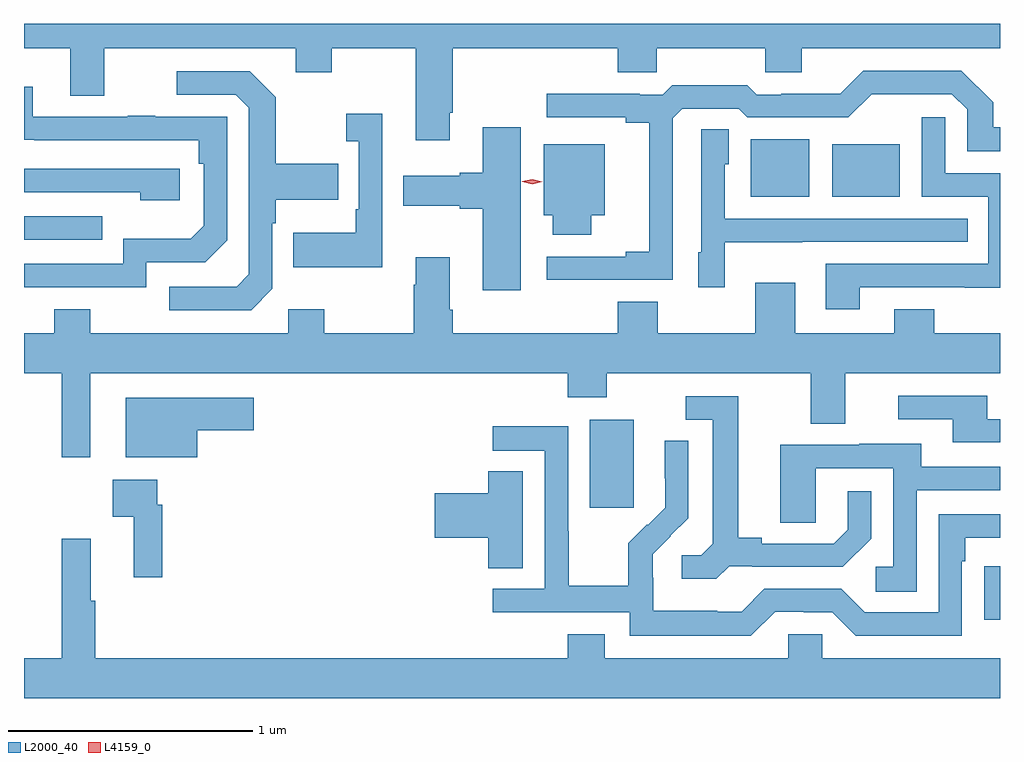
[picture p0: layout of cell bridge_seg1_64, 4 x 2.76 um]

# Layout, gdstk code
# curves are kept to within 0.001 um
import gdstk
lib = gdstk.Library(unit=1e-6, precision=1e-09)
def R(c, l, rs):  # rectangles x0, y0, x1, y1
    for r in rs: c.add(gdstk.rectangle(r[:2], r[2:], *l))
def P(c, l, *ps):  # polygons
    for p in ps: c.add(gdstk.Polygon(p, *l))
L2000_40 = (2000, 40)
L4159_0 = (4159, 0)

bridge_seg1_64 = lib.new_cell('bridge_seg1_64')
R(bridge_seg1_64, L2000_40, [(604.501,581.358,604.566,581.576), (602.885,581.817,603.064,582.178), (600.566,582.915,600.887,583.011), (603.545,583.091,603.784,583.327), (603.878,583.091,604.156,583.306)])
P(bridge_seg1_64, L2000_40, [(602.311,583.435),(602.324,583.435),(602.324,583.7),(602.999,583.7),(602.999,583.602),(603.159,583.602),(603.159,583.7),(603.604,583.7),(603.604,583.602),(603.754,583.602),(603.754,583.7),(604.566,583.7),(604.566,583.8),(600.566,583.8),(600.566,583.7),(600.755,583.7),(600.755,583.506),(600.895,583.506),(600.895,583.7),(601.679,583.7),(601.679,583.601),(601.827,583.601),(601.827,583.7),(602.171,583.7),(602.171,583.323),(602.311,583.323)],
  [(603.225,583.413),(603.264,583.452),(603.495,583.452),(603.531,583.416),(603.945,583.416),(604.04,583.511),(604.368,583.512),(604.431,583.449),(604.431,583.278),(604.566,583.278),(604.566,583.375),(604.539,583.375),(604.539,583.478),(604.408,583.608),(604.005,583.608),(603.911,583.514),(603.67,583.514),(603.67,583.509),(603.57,583.509),(603.531,583.549),(603.223,583.549),(603.183,583.509),(603.089,583.509),(603.089,583.514),(602.709,583.514),(602.709,583.416),(603.032,583.416),(603.032,583.394),(603.128,583.394),(603.128,582.866),(603.032,582.866),(603.032,582.846),(602.709,582.846),(602.709,582.75),(603.225,582.75)],
  [(601.584,582.714),(601.584,582.983),(601.597,582.983),(601.597,583.079),(601.853,583.079),(601.853,583.227),(601.597,583.227),(601.597,583.499),(601.491,583.605),(601.191,583.605),(601.191,583.509),(601.434,583.509),(601.488,583.455),(601.488,582.774),(601.437,582.723),(601.161,582.723),(601.161,582.627),(601.497,582.627)],
  [(601.068,582.822),(601.308,582.822),(601.398,582.912),(601.398,583.419),(601.103,583.419),(601.103,583.424),(600.991,583.424),(600.991,583.419),(600.601,583.419),(600.601,583.543),(600.566,583.543),(600.566,583.324),(601.282,583.323),(601.282,583.226),(601.302,583.226),(601.302,582.972),(601.249,582.919),(600.972,582.919),(600.972,582.816),(600.566,582.816),(600.566,582.72),(601.068,582.72)],
  [(602.034,583.432),(601.887,583.432),(601.887,583.319),(601.938,583.319),(601.938,583.039),(601.926,583.039),(601.926,582.943),(601.669,582.943),(601.669,582.803),(602.034,582.803)],
  [(603.991,582.72),(604.421,582.72),(604.421,582.719),(604.566,582.719),(604.566,583.188),(604.341,583.188),(604.341,583.417),(604.245,583.417),(604.245,583.092),(604.518,583.092),(604.518,582.816),(603.851,582.816),(603.851,582.63),(603.991,582.63)],
  [(602.602,583.375),(602.447,583.375),(602.447,583.19),(602.351,583.19),(602.351,583.177),(602.121,583.177),(602.121,583.055),(602.351,583.055),(602.351,583.043),(602.447,583.043),(602.447,582.708),(602.602,582.708)],
  [(603.438,582.905),(603.755,582.905),(603.755,582.906),(604.433,582.906),(604.433,583.002),(603.438,583.002),(603.438,583.224),(603.454,583.224),(603.454,583.367),(603.342,583.367),(603.342,582.864),(603.329,582.864),(603.329,582.72),(603.438,582.72)],
  [(602.89,583.016),(602.947,583.016),(602.947,583.306),(602.696,583.306),(602.696,583.016),(602.732,583.016),(602.732,582.935),(602.89,582.935)],
  [(601.204,583.206),(600.566,583.206),(600.566,583.11),(601.043,583.11),(601.043,583.076),(601.204,583.076)],
  [(600.838,582.368),(602.795,582.368),(602.795,582.269),(602.955,582.269),(602.955,582.368),(603.791,582.368),(603.791,582.16),(603.931,582.16),(603.931,582.368),(604.566,582.368),(604.566,582.532),(604.297,582.532),(604.297,582.631),(604.133,582.631),(604.133,582.532),(603.727,582.532),(603.727,582.739),(603.563,582.739),(603.563,582.532),(603.163,582.532),(603.163,582.661),(602.999,582.661),(602.999,582.532),(602.324,582.532),(602.324,582.628),(602.311,582.628),(602.311,582.844),(602.171,582.844),(602.171,582.731),(602.164,582.731),(602.164,582.532),(601.797,582.532),(601.797,582.631),(601.65,582.631),(601.65,582.532),(600.837,582.532),(600.837,582.631),(600.689,582.631),(600.689,582.532),(600.566,582.532),(600.566,582.368),(600.721,582.368),(600.721,582.024),(600.838,582.024)],
  [(604.566,582.18),(604.513,582.18),(604.513,582.276),(604.149,582.276),(604.149,582.18),(604.373,582.18),(604.373,582.084),(604.566,582.084)],
  [(603.456,581.577),(603.55,581.577),(603.55,581.574),(603.922,581.574),(604.038,581.69),(604.038,581.884),(603.941,581.884),(603.941,581.727),(603.884,581.67),(603.589,581.67),(603.589,581.693),(603.493,581.693),(603.493,582.273),(603.279,582.273),(603.279,582.177),(603.389,582.177),(603.389,581.669),(603.342,581.622),(603.261,581.622),(603.261,581.525),(603.404,581.525)],
  [(601.276,582.134),(601.507,582.134),(601.507,582.268),(600.983,582.268),(600.983,582.023),(601.276,582.023)],
  [(603.645,581.391),(603.761,581.391),(603.761,581.388),(603.879,581.388),(603.975,581.292),(604.41,581.292),(604.41,581.597),(604.423,581.597),(604.423,581.694),(604.566,581.694),(604.566,581.79),(604.314,581.79),(604.314,581.388),(604.011,581.388),(603.915,581.484),(603.6,581.484),(603.507,581.391),(603.407,581.391),(603.407,581.395),(603.144,581.395),(603.144,581.529),(603.142,581.529),(603.142,581.626),(603.288,581.774),(603.288,582.092),(603.192,582.092),(603.192,581.938),(603.194,581.938),(603.194,581.816),(603.123,581.745),(603.12,581.748),(603.043,581.671),(603.043,581.497),(602.799,581.497),(602.799,581.72),(602.796,581.72),(602.796,582.15),(602.487,582.15),(602.487,582.051),(602.7,582.051),(602.7,581.484),(602.487,581.484),(602.487,581.388),(603.048,581.388),(603.048,581.291),(603.545,581.291)],
  [(604.224,581.889),(604.566,581.889),(604.566,581.985),(604.243,581.985),(604.243,582.079),(603.989,582.079),(603.989,582.075),(603.665,582.075),(603.665,581.755),(603.81,581.755),(603.81,581.979),(604.128,581.979),(604.128,581.574),(604.056,581.574),(604.056,581.473),(604.224,581.473)],
  [(602.611,581.966),(602.468,581.966),(602.468,581.876),(602.25,581.876),(602.25,581.693),(602.468,581.693),(602.468,581.569),(602.611,581.569)],
  [(601.133,581.828),(601.113,581.828),(601.113,581.932),(600.93,581.932),(600.93,581.78),(601.016,581.78),(601.016,581.532),(601.133,581.532)],
  [(604.566,581.2),(603.837,581.2),(603.837,581.298),(603.699,581.298),(603.699,581.2),(602.947,581.2),(602.947,581.299),(602.795,581.299),(602.795,581.2),(600.857,581.2),(600.857,581.436),(600.839,581.436),(600.839,581.689),(600.721,581.689),(600.721,581.2),(600.566,581.2),(600.566,581.036),(604.566,581.036)])
P(bridge_seg1_64, L4159_0, [(602.648,583.143),(602.608,583.153),(602.608,583.154),(602.608,583.154),(602.649,583.163),(602.689,583.152),(602.689,583.152),(602.689,583.152)])

lib.write_gds('bridge_seg1_64.gds')
